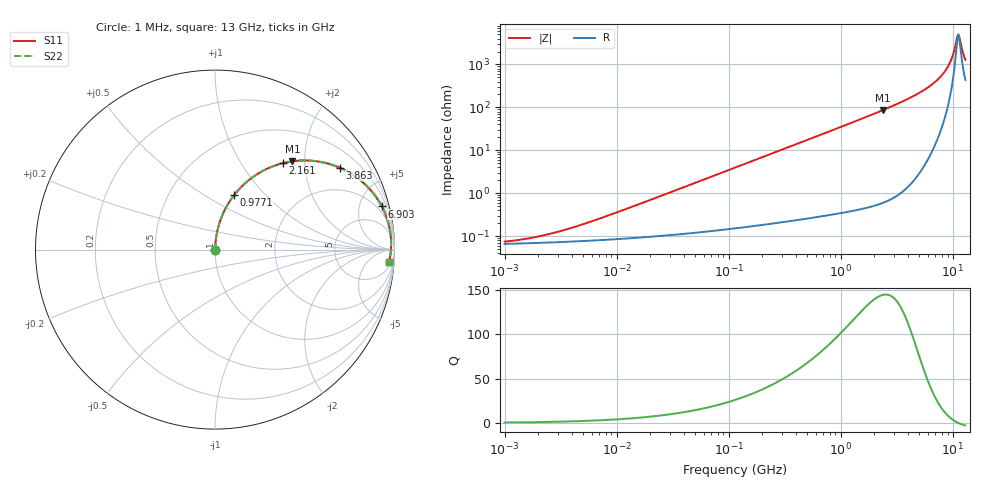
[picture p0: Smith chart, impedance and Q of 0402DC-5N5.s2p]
# MHz  S  MA  R  50
!Freq  MagS11  AngS11  MagS21  AngS21  MagS12  AngS12  MagS22  AngS22
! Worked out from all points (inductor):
!   801 points, 1 MHz to 13 GHz, reference 50 ohm
!   read as one part in series: L = 5.5 nH near 6.982 MHz
!   highest Q = 145 at 2.405 GHz (marker M1), where L = 5.76 nH
!   self-resonance near 11.22 GHz
!   S11 on the Smith chart (normalised r, x): 1 MHz: 1.00, +0.00; 977.1 MHz: 1.01, +0.68; 2.161 GHz: 1.01, +1.55; 3.863 GHz: 1.03, +3.03; 6.903 GHz: 1.25, +7.65; 13 GHz: 10, -24
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1  0.0007432 27.7  0.9993 -0.0  0.9993 -0.0  0.0007432 27.7
2.160238  0.001023 46.8  0.9993 -0.0  0.9993 -0.0  0.001023 46.8
4.893145  0.001855 65.5  0.9992 -0.1  0.9992 -0.1  0.001855 65.5
23.66083  0.008229 82.6  0.999 -0.5  0.999 -0.5  0.008229 82.6
114.4121  0.03948 85.5  0.9977 -2.3  0.9977 -2.3  0.03948 85.5
553.2402  0.1878 78.4  0.9796 -10.8  0.9796 -10.8  0.1878 78.4
977.0805  0.3211 70.7  0.9438 -18.7  0.9438 -18.7  0.3211 70.7
1461.842  0.4556 62.4  0.8865 -27.1  0.8865 -27.1  0.4556 62.4
2161.346  0.6108 52.0  0.7875 -37.6  0.7875 -37.6  0.6108 52.0
2404.584  0.6545 48.7  0.7516 -40.9  0.7516 -40.9  0.6545 48.7
2707.084  0.7023 45.0  0.7071 -44.6  0.7071 -44.6  0.7023 45.0
3862.666  0.8311 33.3  0.5491 -56.2  0.5491 -56.2  0.8311 33.3
5319.049  0.9163 22.8  0.3869 -66.4  0.3869 -66.4  0.9163 22.8
6903.192  0.9598 14.5  0.2508 -73.6  0.2508 -73.6  0.9598 14.5
8148.853  0.9754 9.5  0.165 -76.7  0.165 -76.7  0.9754 9.5
9173.99  0.9811 6.0  0.1047 -76.6  0.1047 -76.6  0.9811 6.0
9849.98  0.9824 3.9  0.06937 -73.3  0.06937 -73.3  0.9824 3.9
10829.41  0.9815 1.1  0.02693 -46.1  0.02693 -46.1  0.9815 1.1
11089.12  0.9809 0.5  0.02065 -22.0  0.02065 -22.0  0.9809 0.5
11627.38  0.979 -0.9  0.02617 36.3  0.02617 36.3  0.979 -0.9
12484.15  0.9749 -2.9  0.05644 62.2  0.05644 62.2  0.9749 -2.9
13000  0.9719 -4.1  0.07568 66.2  0.07568 66.2  0.9719 -4.1
